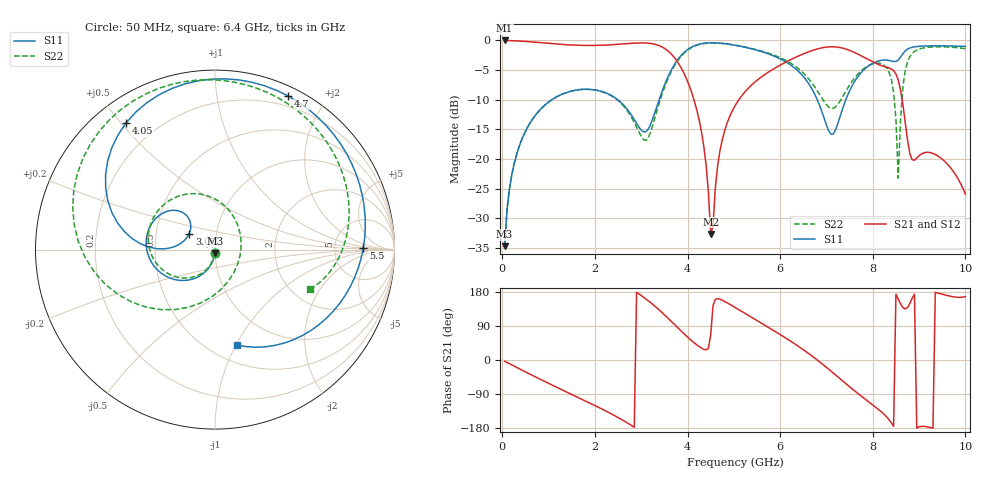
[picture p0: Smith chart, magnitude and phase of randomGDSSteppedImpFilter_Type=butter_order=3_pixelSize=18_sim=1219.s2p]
! freq	dB(S11)	phase(S11)	dB(S12)	phase(S12)
!  dB(S21)	phase(S21)	dB(S22)	phase(S22)
!S-par simulation data
#  GHz  S  DB  R 50
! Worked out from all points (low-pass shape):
!   200 points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, 50 MHz to 10 GHz, reference 50 ohm
!   highest |S21| = -0.01 dB at 50 MHz (marker M1); lowest = -32.7 dB at 4.5 GHz (marker M2)
!   |S21| within 3 dB of the highest: start of sweep to 3.726 GHz; 6.291 GHz to 7.847 GHz (1.556 GHz wide, 22 % of centre)
!   lowest |S11| = -34.7 dB at 50 MHz (marker M3), VSWR 1.04, Z = 49.9 - j1.83 ohm
!   |S11| at or under -10 dB: start of sweep to 1.073 GHz; 2.49 GHz to 3.386 GHz (895.7 MHz wide, 30.5 % of centre); 6.8 GHz to 7.419 GHz (619.1 MHz wide, 8.71 % of centre)
!   |S22| runs from -34.7 to -0.4 dB; largest |S21 - S12| = 0
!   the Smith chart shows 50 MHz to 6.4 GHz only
!   S11 on the Smith chart (normalised r, x): 50 MHz: 1.00, -0.04; 3.05 GHz: 0.74, +0.14; 4.05 GHz: 0.09, +0.52; 4.7 GHz: 0.09, +1.58; 5.5 GHz: 10, +1; 6.4 GHz: 0.67, -1.01
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0.05  -34.73 -93.4  -0.01 -3.2  -0.01 -3.2  -34.72 -93.9
0.5  -15.34 -120.4  -0.17 -31.4  -0.17 -31.4  -15.34 -123.4
1.75  -8.25 171.2  -0.84 -105.3  -0.84 -105.3  -8.26 157.3
3.05  -15.44 148.1  -0.42 165.7  -0.42 165.7  -16.74 4.2
3.4  -9.68 179.0  -0.92 130.9  -0.92 130.9  -10.28 -104.6
4.05  -1.29 125.1  -7.91 55.1  -7.91 55.1  -1.38 157.3
4.35  -0.49 95.5  -17.80 28.3  -17.80 28.3  -0.53 123.8
4.5  -0.40 81.8  -32.65 65.8  -32.65 65.8  -0.43 109.2
4.7  -0.46 64.5  -18.65 160.5  -18.65 160.5  -0.47 91.6
5.05  -0.85 36.0  -10.71 137.1  -10.71 137.1  -0.82 64.2
5.5  -1.66 0.6  -6.74 104.2  -6.74 104.2  -1.58 33.0
6.4  -5.26 -77.0  -2.61 35.6  -2.61 35.6  -4.81 -22.4
6.7  -8.39 -112.3  -1.68 9.5  -1.68 9.5  -7.33 -35.8
7.1  -15.83 147.8  -1.08 -29.6  -1.08 -29.6  -11.47 -23.6
7.5  -8.50 34.0  -1.68 -70.7  -1.68 -70.7  -7.52 -6.5
8.35  -3.38 -50.2  -4.65 -157.3  -4.65 -157.3  -5.36 -73.9
8.45  -3.56 -53.9  -5.10 -175.2  -5.10 -175.2  -8.76 -90.6
8.55  -3.30 -54.0  -6.68 160.7  -6.68 160.7  -23.22 -50.4
8.65  -2.24 -57.1  -10.82 138.8  -10.82 138.8  -7.86 8.0
8.8  -1.28 -69.0  -19.10 149.1  -19.10 149.1  -2.74 -22.6
9.25  -0.92 -97.5  -18.96 -178.4  -18.96 -178.4  -1.13 -66.4
10  -1.01 -133.8  -25.93 167.4  -25.93 167.4  -1.39 -112.4
